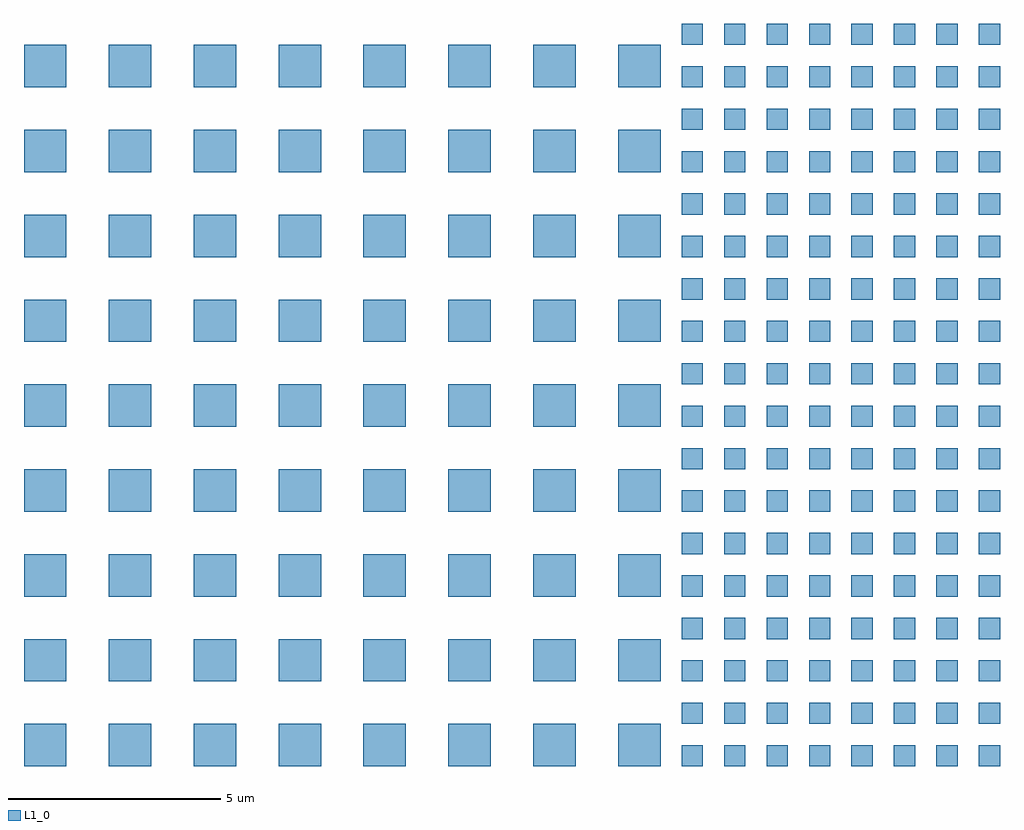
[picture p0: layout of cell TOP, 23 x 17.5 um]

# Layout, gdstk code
from math import pi, radians
import gdstk
lib = gdstk.Library(unit=1e-6, precision=1e-09)
def R(c, l, rs):  # rectangles x0, y0, x1, y1
    for r in rs: c.add(gdstk.rectangle(r[:2], r[2:], *l))
def A(c, l, x, y, w, h, nx, ny, dx, dy):  # array of equal rectangles
    R(c, l, [(x+i*dx, y+j*dy, x+i*dx+w, y+j*dy+h) for i in range(nx) for j in range(ny)])
L1_0 = (1, 0)

c_c1 = lib.new_cell('C1')
R(c_c1, L1_0, [(0,0,1,1), (0,2,1,3)])
c_c1.add(gdstk.Label('C1', (0.4,1.4), layer=1, texttype=0))

c_c2 = lib.new_cell('C2')
R(c_c2, L1_0, [(0,0,2,2), (0,4,2,6)])
c_c2.add(gdstk.Label('C2', (0.8,2.8), layer=1, texttype=0))

c_c4 = lib.new_cell('C4')
R(c_c4, L1_0, [(0,0,4,4), (0,8,4,12)])
c_c4.add(gdstk.Label('C4', (2,6), layer=1, texttype=0))

cc1 = lib.new_cell('CC1')
R(cc1, L1_0, [(4,4,5,5), (4,6,5,7)])
cc1.add(gdstk.Reference(c_c1, (0,0)))
cc1.add(gdstk.Reference(c_c1, (0,4)))
cc1.add(gdstk.Reference(c_c1, (6,4)))
cc1.add(gdstk.Reference(c_c1, (6,0)))
cc1.add(gdstk.Reference(c_c2, (2,0), magnification=0.5))
cc1.add(gdstk.Reference(c_c4, (4,0), magnification=0.25))
cc1.add(gdstk.Reference(c_c4, (2,4), magnification=0.25))
cc1.add(gdstk.Label('CC1', (3.4,3.4), layer=1, texttype=0))

cc2 = lib.new_cell('CC2')
A(cc2, L1_0, 0, 16, 1, 1, 8, 1, 2, 0)
cc2.add(gdstk.Reference(cc1, (0,0)))
cc2.add(gdstk.Reference(cc1, (0,8)))
cc2.add(gdstk.Reference(cc1, (15,0), rotation=pi, x_reflection=True))
cc2.add(gdstk.Reference(cc1, (15,15), rotation=3*pi/2, x_reflection=True))

top = lib.new_cell('TOP')
top.add(gdstk.Reference(cc2, (15.5,0), magnification=0.5))
top.add(gdstk.Reference(cc2, (15.5,9), magnification=0.5))
top.add(gdstk.Reference(cc2, (0,0)))

lib.write_gds('TOP.gds')
